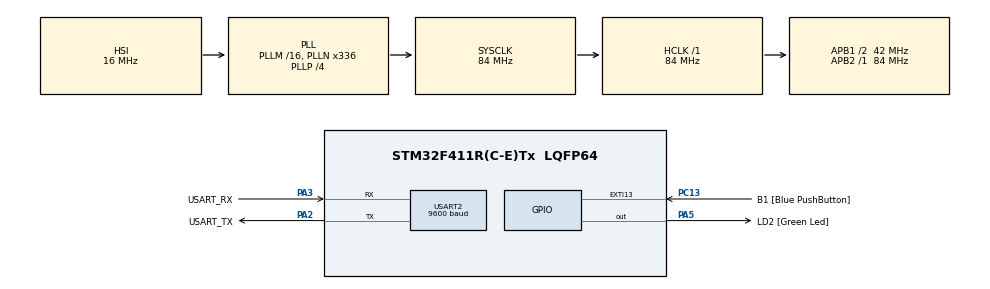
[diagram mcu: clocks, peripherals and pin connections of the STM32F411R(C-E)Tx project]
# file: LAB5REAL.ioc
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Mcu.Family=STM32F4
Mcu.Name=STM32F411R(C-E)Tx
Mcu.Package=LQFP64
NVIC.PriorityGroup=NVIC_PRIORITYGROUP_0
NVIC.USART2_IRQn=true\:0\:0\:false\:false\:true\:true\:true\:true
PA13.GPIO_Label=TMS
PA13.Mode=Serial_Wire
PA13.Signal=SYS_JTMS-SWDIO
PA14.GPIO_Label=TCK
PA14.Mode=Serial_Wire
PA14.Signal=SYS_JTCK-SWCLK
PA2.GPIO_Label=USART_TX
PA2.Mode=Asynchronous
PA2.Signal=USART2_TX
PA3.GPIO_Label=USART_RX
PA3.Mode=Asynchronous
PA3.Signal=USART2_RX
PA5.GPIO_Label=LD2 [Green Led]
PA5.Signal=GPIO_Output
PB3.GPIO_Label=SWO
PB3.Signal=SYS_JTDO-SWO
PC13-ANTI_TAMP.GPIO_Label=B1 [Blue PushButton]
PC13-ANTI_TAMP.GPIO_ModeDefaultEXTI=GPIO_MODE_IT_FALLING
PC13-ANTI_TAMP.Signal=GPXTI13
PC14-OSC32_IN.Mode=LSE-External-Oscillator
PC14-OSC32_IN.Signal=RCC_OSC32_IN
PC15-OSC32_OUT.Mode=LSE-External-Oscillator
PC15-OSC32_OUT.Signal=RCC_OSC32_OUT
PH0\ -\ OSC_IN.Mode=HSE-External-Clock-Source
PH0\ -\ OSC_IN.Signal=RCC_OSC_IN
PH1\ -\ OSC_OUT.Mode=HSE-External-Clock-Source
PH1\ -\ OSC_OUT.Signal=RCC_OSC_OUT
ProjectManager.HeapSize=0x200
ProjectManager.StackSize=0x400
ProjectManager.TargetToolchain=STM32CubeIDE
RCC.48MHZClocksFreq_Value=84000000
RCC.AHBFreq_Value=84000000
RCC.APB1CLKDivider=RCC_HCLK_DIV2
RCC.APB1Freq_Value=42000000
RCC.APB1TimFreq_Value=84000000
RCC.APB2Freq_Value=84000000
RCC.APB2TimFreq_Value=84000000
RCC.CortexFreq_Value=84000000
RCC.FLatency-AdvancedSettings=FLASH_LATENCY_2
RCC.HCLKFreq_Value=84000000
RCC.HSE_VALUE=8000000
RCC.HSI_VALUE=16000000
RCC.PLLN=336
RCC.PLLP=RCC_PLLP_DIV4
RCC.SYSCLKFreq_VALUE=84000000
RCC.SYSCLKSource=RCC_SYSCLKSOURCE_PLLCLK
RCC.VCOOutputFreq_Value=336000000
USART2.BaudRate=9600
USART2.VirtualMode=VM_ASYNC
board=NUCLEO-F411RE

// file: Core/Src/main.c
/* USER CODE BEGIN Header */
/**
  ******************************************************************************
  * @file           : main.c
  * @brief          : Main program body
  ******************************************************************************
  * @attention
  *
  * Copyright (c) 2023 STMicroelectronics.
  * All rights reserved.
  *
  * This software is licensed under terms that can be found in the LICENSE file
  * in the root directory of this software component.
  * If no LICENSE file comes with this software, it is provided AS-IS.
  *
  ******************************************************************************
  */
/* USER CODE END Header */
#include "main.h"

/* USER CODE BEGIN Includes */
#include "stdio.h"
#include "string.h"
/* USER CODE END Includes */

UART_HandleTypeDef huart2;

/* USER CODE BEGIN PV */
uint8_t RxBuffer[2];
uint8_t TxBuffer[400];
uint8_t SpeedHz;
uint8_t state = 0;

/* USER CODE END PV */

void SystemClock_Config(void);
static void MX_GPIO_Init(void);
static void MX_USART2_UART_Init(void);
/* USER CODE BEGIN PFP */
//void UARTPollingMethod();
void UARTInterruptConfig();
void HAL_UART_RxCpltCallback();
void fxckinmode();
/* USER CODE END PFP */

int main(void)
{

  /* MCU Configuration--------------------------------------------------------*/

  /* Reset of all peripherals, Initializes the Flash interface and the Systick. */
  HAL_Init();

  /* Configure the system clock */
  SystemClock_Config();

  /* Initialize all configured peripherals */
  MX_GPIO_Init();
  MX_USART2_UART_Init();
  /* USER CODE BEGIN 2 */
  UARTInterruptConfig();
  /* USER CODE END 2 */

  /* Infinite loop */
  while (1)
  {

  }
}

void SystemClock_Config(void)
{
  RCC_OscInitTypeDef RCC_OscInitStruct = {0};
  RCC_ClkInitTypeDef RCC_ClkInitStruct = {0};

  /** Configure the main internal regulator output voltage
  */
  __HAL_RCC_PWR_CLK_ENABLE();
  __HAL_PWR_VOLTAGESCALING_CONFIG(PWR_REGULATOR_VOLTAGE_SCALE1);

  /** Initializes the RCC Oscillators according to the specified parameters
  * in the RCC_OscInitTypeDef structure.
  */
  RCC_OscInitStruct.OscillatorType = RCC_OSCILLATORTYPE_HSI;
  RCC_OscInitStruct.HSIState = RCC_HSI_ON;
  RCC_OscInitStruct.HSICalibrationValue = RCC_HSICALIBRATION_DEFAULT;
  RCC_OscInitStruct.PLL.PLLState = RCC_PLL_ON;
  RCC_OscInitStruct.PLL.PLLSource = RCC_PLLSOURCE_HSI;
  RCC_OscInitStruct.PLL.PLLM = 16;
  RCC_OscInitStruct.PLL.PLLN = 336;
  RCC_OscInitStruct.PLL.PLLP = RCC_PLLP_DIV4;
  RCC_OscInitStruct.PLL.PLLQ = 4;
  if (HAL_RCC_OscConfig(&RCC_OscInitStruct) != HAL_OK)
  {
    Error_Handler();
  }

  /** Initializes the CPU, AHB and APB buses clocks
  */
  RCC_ClkInitStruct.ClockType = RCC_CLOCKTYPE_HCLK|RCC_CLOCKTYPE_SYSCLK
                              |RCC_CLOCKTYPE_PCLK1|RCC_CLOCKTYPE_PCLK2;
  RCC_ClkInitStruct.SYSCLKSource = RCC_SYSCLKSOURCE_PLLCLK;
  RCC_ClkInitStruct.AHBCLKDivider = RCC_SYSCLK_DIV1;
  RCC_ClkInitStruct.APB1CLKDivider = RCC_HCLK_DIV2;
  RCC_ClkInitStruct.APB2CLKDivider = RCC_HCLK_DIV1;

  if (HAL_RCC_ClockConfig(&RCC_ClkInitStruct, FLASH_LATENCY_2) != HAL_OK)
  {
    Error_Handler();
  }
}

static void MX_USART2_UART_Init(void)
{

  huart2.Instance = USART2;
  huart2.Init.BaudRate = 9600;
  huart2.Init.WordLength = UART_WORDLENGTH_8B;
  huart2.Init.StopBits = UART_STOPBITS_1;
  huart2.Init.Parity = UART_PARITY_NONE;
  huart2.Init.Mode = UART_MODE_TX_RX;
  huart2.Init.HwFlowCtl = UART_HWCONTROL_NONE;
  huart2.Init.OverSampling = UART_OVERSAMPLING_16;
  if (HAL_UART_Init(&huart2) != HAL_OK)
  {
    Error_Handler();
  }

}

static void MX_GPIO_Init(void)
{
  GPIO_InitTypeDef GPIO_InitStruct = {0};

  /* GPIO Ports Clock Enable */
  __HAL_RCC_GPIOC_CLK_ENABLE();
  __HAL_RCC_GPIOH_CLK_ENABLE();
  __HAL_RCC_GPIOA_CLK_ENABLE();
  __HAL_RCC_GPIOB_CLK_ENABLE();

  /*Configure GPIO pin Output Level */
  HAL_GPIO_WritePin(LD2_GPIO_Port, LD2_Pin, GPIO_PIN_RESET);

  /*Configure GPIO pin : B1_Pin */
  GPIO_InitStruct.Pin = B1_Pin;
  GPIO_InitStruct.Mode = GPIO_MODE_IT_FALLING;
  GPIO_InitStruct.Pull = GPIO_NOPULL;
  HAL_GPIO_Init(B1_GPIO_Port, &GPIO_InitStruct);

  /*Configure GPIO pin : LD2_Pin */
  GPIO_InitStruct.Pin = LD2_Pin;
  GPIO_InitStruct.Mode = GPIO_MODE_OUTPUT_PP;
  GPIO_InitStruct.Pull = GPIO_NOPULL;
  GPIO_InitStruct.Speed = GPIO_SPEED_FREQ_LOW;
  HAL_GPIO_Init(LD2_GPIO_Port, &GPIO_InitStruct);

}

/* USER CODE BEGIN 4 */
void UARTInterruptConfig()
{
	HAL_UART_Receive_IT(&huart2, RxBuffer, 1);
}
void HAL_UART_RxCpltCallback(UART_HandleTypeDef *huart)
{
	if(huart == &huart2)
	{
		RxBuffer [1] = '\0';

		sprintf((char*)TxBuffer, "Received : %s\r\n", RxBuffer);
		HAL_UART_Transmit_IT(&huart2, TxBuffer, strlen((char*)TxBuffer));
		HAL_UART_Receive_IT(&huart2, RxBuffer, 1);
	}
}
void fxckinmode(){
	switch(state){
		case 0:

			sprintf((char*)TxBuffer, "................................... \n\r"
									 "................................... \n\r"
									 "......Select mode to control....... \n\r"
									 "Press 0 : LED Mode \n\r"
									 "Press 1 : Button Mode \n\r");
//		printf ("................................... \n");
//		printf ("................................... \n");
//		printf ("......Select mode to control....... \n");
//		printf ("Press 0 : LED Mode \n");
//		printf ("Press 1 : Button Mode \n");
		if(RxBuffer == '0'){
			//led mode
			state = 1;
		}else if (RxBuffer == '1'){
			//Button mode
			state = 2;
		}else{
			state = 3;
		}
		break ;

		//led mode
		case 1:

			sprintf((char*)TxBuffer, "................................... \n\r"
									 "................................... \n\r"
									 "..............LED Mode............. \n\r"
									 "Press A : +Hz \n\r"
									 "Press S : -Hz \n\r"
									 "Press D : On/Off \n\r"
									 "Press X : Back \n\r");

//			printf ("................................... \n");
//			printf ("................................... \n");
//			printf ("..............LED Mode............. \n");
//			printf ("Press A : +Hz \n");
//			printf ("Press S : -Hz \n");
//			printf ("Press D : On/Off \n");
//			printf ("Press X : Back \n");

		if(RxBuffer == 'A'){
			SpeedHz = SpeedHz +1;
		}else if(RxBuffer == 'S'){
			SpeedHz = SpeedHz -1;
		}else if(RxBuffer == 'D'){
			//on/off
		}else if(RxBuffer == 'X'){
			state = 0;
		}else {
			state = 3;
		}
		break ;

		//Button mode
		case 2:

			sprintf((char*)TxBuffer, "................................... \n\r"
									 "................................... \n\r"
									 "............Button Mode............ \n\r"
									 "Button Status :  \n\r"
									 "Press X : Back \n\r");

		if(RxBuffer == 'X'){
			state = 0;
		}else{
			state = 3;
		}
		break ;

		//Wrong mode
		case 3:

			sprintf((char*)TxBuffer, "................................... \n\r"
									 "................................... \n\r"
									 "...............Warning............. \n\r"
									 "Wring Button\n\r"
									 "Press X : Back \n\r");
		if(RxBuffer == 'X'){
			state = 0;
		}
		break ;
	}
}
/* USER CODE END 4 */

void Error_Handler(void)
{
  __disable_irq();
  while (1)
  {
  }
}
